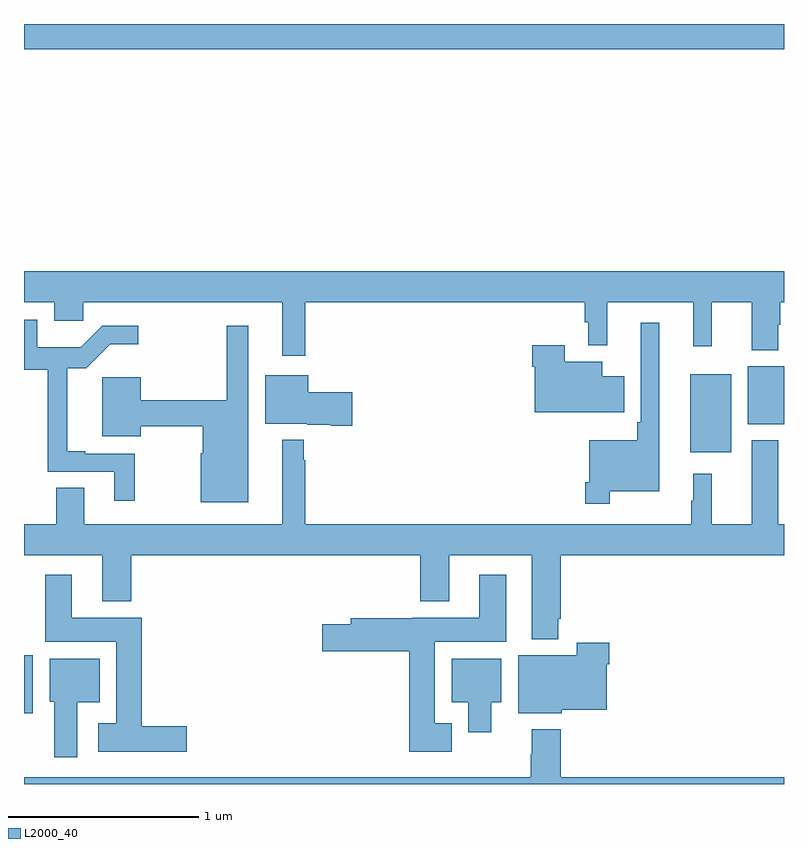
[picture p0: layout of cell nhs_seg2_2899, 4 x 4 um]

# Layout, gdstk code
import gdstk
lib = gdstk.Library(unit=1e-6, precision=1e-09)
def R(c, l, rs):  # rectangles x0, y0, x1, y1
    for r in rs: c.add(gdstk.rectangle(r[:2], r[2:], *l))
def P(c, l, *ps):  # polygons
    for p in ps: c.add(gdstk.Polygon(p, *l))
L2000_40 = (2000, 40)

nhs_seg2_2899 = lib.new_cell('nhs_seg2_2899')
R(nhs_seg2_2899, L2000_40, [(263,612.173,263.047,612.478), (266.507,613.547,266.722,613.957), (266.81,613.694,267,613.999), (263,615.668,267,615.8)])
P(nhs_seg2_2899, L2000_40, [(263,614.336),(263.159,614.336),(263.159,614.238),(263.311,614.238),(263.311,614.336),(264.359,614.336),(264.359,614.055),(264.481,614.055),(264.481,614.336),(265.951,614.336),(265.951,614.229),(265.971,614.229),(265.971,614.108),(266.069,614.108),(266.069,614.336),(266.522,614.336),(266.522,614.103),(266.621,614.103),(266.621,614.336),(266.831,614.336),(266.831,614.084),(266.971,614.084),(266.971,614.216),(266.979,614.216),(266.979,614.336),(267,614.336),(267,614.5),(263,614.5)],
  [(263.584,613.539),(263.323,613.539),(263.323,613.552),(263.228,613.552),(263.228,613.989),(263.327,613.989),(263.453,614.114),(263.602,614.114),(263.602,614.211),(263.412,614.211),(263.299,614.098),(263.07,614.098),(263.07,614.244),(263,614.244),(263,613.981),(263.125,613.981),(263.125,613.443),(263.474,613.443),(263.474,613.29),(263.584,613.29)],
  [(266.083,613.34),(266.344,613.34),(266.344,614.227),(266.247,614.227),(266.247,613.705),(266.227,613.705),(266.227,613.609),(265.974,613.609),(265.974,613.387),(265.954,613.387),(265.954,613.275),(266.083,613.275)],
  [(264.181,614.212),(264.067,614.212),(264.067,613.82),(263.614,613.82),(263.614,613.941),(263.411,613.941),(263.411,613.631),(263.614,613.631),(263.614,613.684),(263.942,613.684),(263.942,613.542),(263.93,613.542),(263.93,613.283),(264.181,613.283)],
  [(266.158,613.945),(266.044,613.945),(266.044,614.023),(265.846,614.023),(265.846,614.11),(265.676,614.11),(265.676,613.997),(265.688,613.997),(265.688,613.757),(266.158,613.757)],
  [(264.727,613.863),(264.496,613.863),(264.496,613.951),(264.269,613.951),(264.269,613.697),(264.492,613.697),(264.492,613.691),(264.614,613.691),(264.614,613.685),(264.727,613.685)],
  [(263.17,613.358),(263.17,613.168),(263,613.168),(263,613.004),(263.411,613.004),(263.411,612.761),(263.564,612.761),(263.564,613.004),(265.085,613.004),(265.085,612.761),(265.237,612.761),(265.237,613.004),(265.673,613.004),(265.673,612.563),(265.813,612.563),(265.813,612.67),(265.826,612.67),(265.826,613.004),(267,613.004),(267,613.168),(266.971,613.168),(266.971,613.609),(266.831,613.609),(266.831,613.168),(266.621,613.168),(266.621,613.432),(266.522,613.432),(266.522,613.292),(266.511,613.292),(266.511,613.168),(264.481,613.168),(264.481,613.505),(264.473,613.505),(264.473,613.612),(264.359,613.612),(264.359,613.168),(263.317,613.168),(263.317,613.358)],
  [(265.252,612.121),(265.162,612.121),(265.162,612.548),(265.537,612.548),(265.537,612.901),(265.397,612.901),(265.397,612.676),(265.044,612.676),(265.044,612.672),(264.719,612.672),(264.719,612.642),(264.57,612.642),(264.57,612.5),(265.028,612.5),(265.028,611.969),(265.252,611.969)],
  [(263.857,612.104),(263.621,612.104),(263.621,612.676),(263.251,612.676),(263.251,612.901),(263.111,612.901),(263.111,612.548),(263.486,612.548),(263.486,612.121),(263.391,612.121),(263.391,611.969),(263.857,611.969)],
  [(265.83,612.191),(266.068,612.191),(266.068,612.431),(266.081,612.431),(266.081,612.544),(265.91,612.544),(265.91,612.478),(265.601,612.478),(265.601,612.173),(265.83,612.173)],
  [(265.459,612.23),(265.513,612.23),(265.513,612.46),(265.25,612.46),(265.25,612.23),(265.337,612.23),(265.337,612.072),(265.459,612.072)],
  [(263.281,612.23),(263.398,612.23),(263.398,612.46),(263.135,612.46),(263.135,612.234),(263.159,612.234),(263.159,611.94),(263.281,611.94)],
  [(267,611.836),(265.826,611.836),(265.826,612.088),(265.673,612.088),(265.673,611.957),(265.666,611.957),(265.666,611.836),(263,611.836),(263,611.8),(267,611.8)])

lib.write_gds('nhs_seg2_2899.gds')
